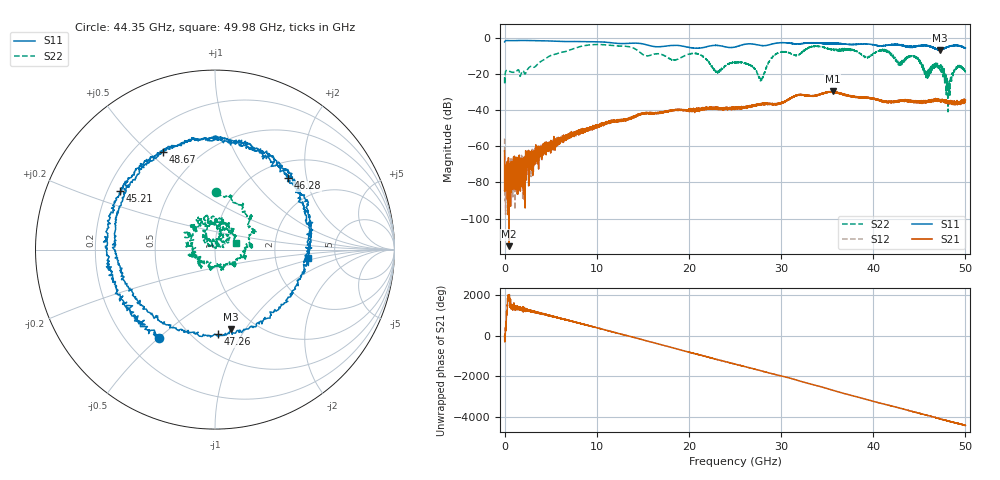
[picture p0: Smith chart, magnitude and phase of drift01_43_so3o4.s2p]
!Created with skrf (http://scikit-rf.org).
# Hz S RI R 50.0
!freq ReS11 ImS11 ReS21 ImS21 ReS12 ImS12 ReS22 ImS22
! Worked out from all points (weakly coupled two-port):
!   10001 points, 300 kHz to 50 GHz, reference 50 ohm
!   highest |S21| = -29.46 dB at 35.58 GHz (marker M1); lowest = -115.3 dB at 455.3 MHz (marker M2)
!   lowest |S11| = -6.9 dB at 47.21 GHz (marker M3), VSWR 2.66, Z = 38.5 - j43.2 ohm
!   |S11| at or under -10 dB: nowhere
!   |S22| runs from -40.8 to -3.6 dB; largest |S21 - S12| = 0.0038
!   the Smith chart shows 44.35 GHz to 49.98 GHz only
!   S11 on the Smith chart (normalised r, x): 44.35 GHz: 0.34, -0.50; 45.21 GHz: 0.25, +0.27; 46.28 GHz: 1.32, +1.56; 47.26 GHz: 0.65, -0.80; 48.67 GHz: 0.32, +0.55; 49.98 GHz: 3.11, -0.42
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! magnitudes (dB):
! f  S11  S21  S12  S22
! 300 kHz  -2.1  -62.5  -55.6  -21.7
! 455.3 MHz  -1.4  -115.3  -73.6  -18.3
! 8.335 GHz  -1.9  -51.3  -52.3  -4.5
! 16.67 GHz  -4.8  -41.7  -41.5  -8.7
! 20.96 GHz  -5.6  -39.3  -39.4  -8.8
! 23.07 GHz  -4.1  -38.6  -38.8  -18.5
! 25 GHz  -5.0  -39.0  -38.4  -13.5
! 27.84 GHz  -4.1  -36.7  -36.6  -22.8
! 29.47 GHz  -2.9  -36.8  -36.5  -8.8
! 33.34 GHz  -2.6  -32.2  -32.0  -4.7
! 35.58 GHz  -2.8  -29.5  -29.8  -6.4
! 41.67 GHz  -3.9  -35.3  -35.5  -7.6
! 42.84 GHz  -3.9  -34.9  -34.9  -14.0
! 44.35 GHz  -4.7  -35.1  -35.4  -9.8
! 45.21 GHz  -4.2  -35.8  -35.3  -13.6
! 46.28 GHz  -4.9  -34.6  -34.6  -16.2
! 47.21 GHz  -6.9  -34.9  -34.1  -16.7
! 47.26 GHz  -6.5  -34.3  -34.4  -17.0
! 48.13 GHz  -4.9  -35.0  -35.4  -33.3
! 48.67 GHz  -4.2  -35.6  -35.5  -19.7
! 49.98 GHz  -5.7  -35.3  -34.8  -18.4
! 50 GHz  -5.6  -34.4  -34.9  -18.6
